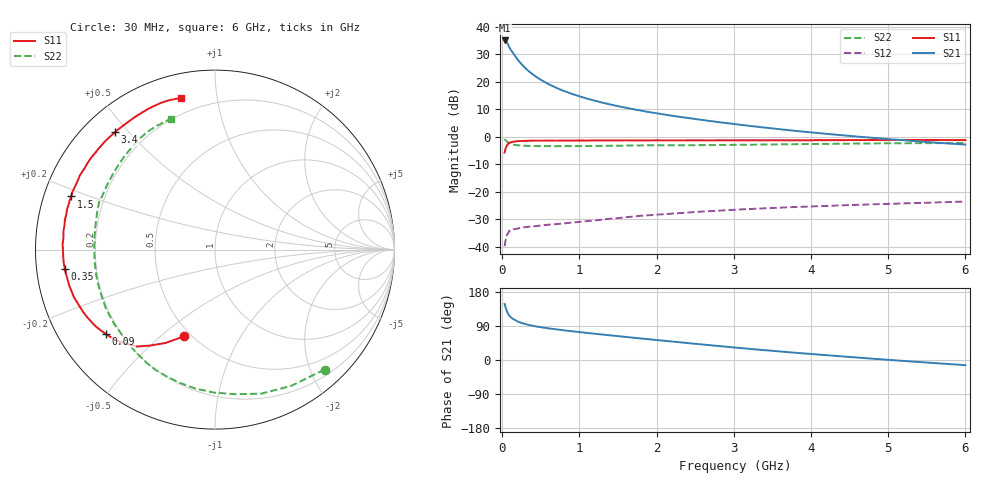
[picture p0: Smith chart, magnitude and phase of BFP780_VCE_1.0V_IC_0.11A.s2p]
! Infineon Technologies  Discrete & RF Semiconductors
! BFP780
! VCE =  1.0 V,  IC = 0.11 A
! Common Emitter S-Parameters:  Jul 2015
# GHz  S  MA  R  50
!  f  S11  S21  S12  S22
! GHz  MAG  ANG  MAG  ANG  MAG  ANG  MAG  ANG
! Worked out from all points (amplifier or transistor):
!   75 points, 30 MHz to 6 GHz, reference 50 ohm
!   highest |S21| = 35.0 dB at 30 MHz (marker M1)
!   |S21| within 3 dB of that: start of sweep to 101 MHz
!   unconditionally stable (mu >= 1): 1.481 GHz to end of sweep
!   at 150 MHz: K = 0.17, MSG = 31.8 dB, |S12| = -33.7 dB
!   at 2.3 GHz: K = 1.18, MAG = 14.9 dB, |S12| = -27.8 dB
!   at 6 GHz: K = 1.61, MAG = 5.8 dB, |S12| = -23.6 dB
!   S11 on the Smith chart (normalised r, x): 30 MHz: 0.46, -0.60; 90 MHz: 0.15, -0.34; 350 MHz: 0.09, -0.06; 1.5 GHz: 0.08, +0.18; 3.4 GHz: 0.09, +0.46; 6 GHz: 0.12, +0.79
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0.03  0.5134 -109.7  56.26 148.0  0.0102 62.8  0.905 -47.6
0.04  0.5887 -117.9  55.62 140.6  0.0125 56.0  0.8699 -60.8
0.05  0.6456 -124.1  54.37 134.0  0.0146 47.6  0.8433 -72.1
0.06  0.695 -129.0  52.05 128.7  0.0164 43.1  0.8136 -82.0
0.08  0.7519 -138.3  45.61 120.3  0.018 39.1  0.7823 -97.9
0.09  0.7685 -142.2  42.52 117.4  0.0194 36.3  0.7677 -104.8
0.11  0.7915 -147.5  38.01 113.0  0.0194 31.6  0.7477 -116.2
0.13  0.8035 -151.5  34.6 109.8  0.0202 29.3  0.7272 -124.9
0.2  0.8297 -161.4  25.12 101.6  0.0213 22.6  0.6979 -143.7
0.25  0.8363 -166.1  20.82 97.7  0.0224 21.6  0.6905 -151.8
0.35  0.8437 -172.7  15.22 92.2  0.0231 20.0  0.6798 -162.1
0.45  0.8465 -177.0  11.97 88.2  0.0237 20.1  0.6762 -168.5
0.6  0.8494 178.1  9.029 83.5  0.0251 21.2  0.6738 -175.2
0.8  0.8506 173.0  6.775 78.3  0.0265 23.2  0.6731 178.5
1.1  0.851 166.7  4.913 71.4  0.0292 25.3  0.6756 171.4
1.5  0.8539 159.7  3.589 63.0  0.033 26.7  0.6849 164.2
2.1  0.8578 149.9  2.526 50.7  0.0389 25.9  0.6948 155.0
3.1  0.8595 134.7  1.636 31.3  0.0476 21.8  0.7132 140.0
3.4  0.8593 130.4  1.464 25.9  0.0498 20.0  0.7203 136.1
4.1  0.8625 121.2  1.162 14.3  0.0545 16.0  0.7374 127.9
5.1  0.8713 110.4  0.882 -1.0  0.0605 10.1  0.7585 117.7
6  0.866 102.6  0.718 -13.6  0.0661 4.5  0.7688 108.6
